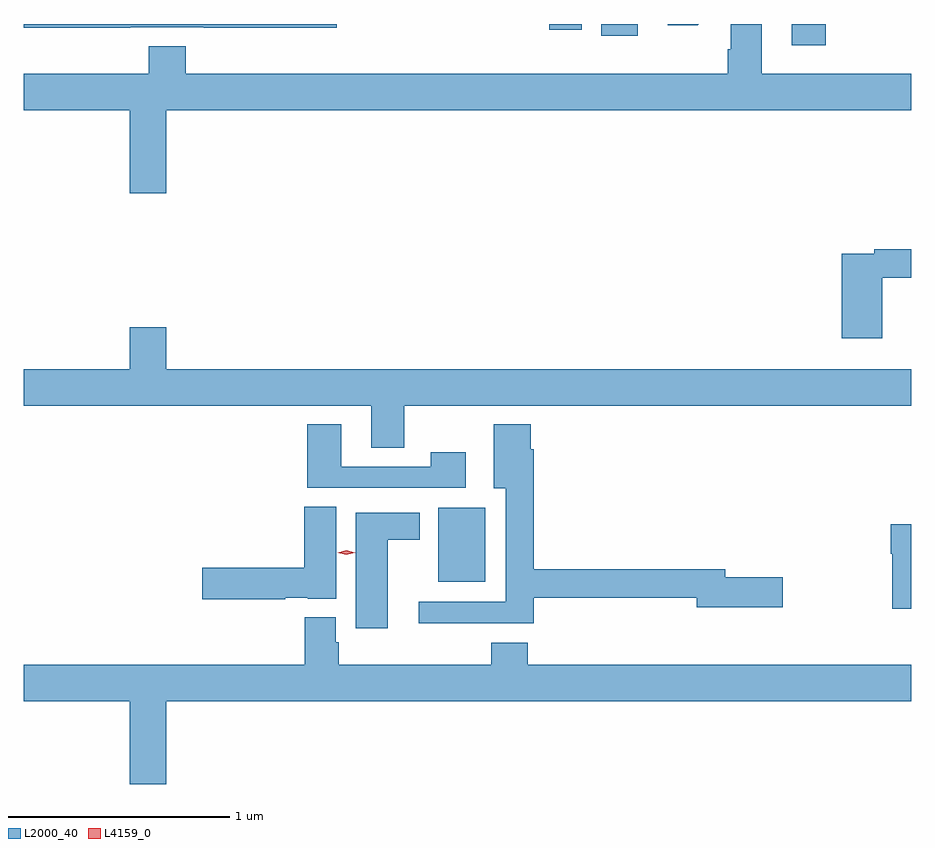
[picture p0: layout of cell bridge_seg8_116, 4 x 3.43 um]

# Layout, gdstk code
import gdstk
lib = gdstk.Library(unit=1e-6, precision=1e-09)
def R(c, l, rs):  # rectangles x0, y0, x1, y1
    for r in rs: c.add(gdstk.rectangle(r[:2], r[2:], *l))
def P(c, l, *ps):  # polygons
    for p in ps: c.add(gdstk.Polygon(p, *l))
L2000_40 = (2000, 40)
L4159_0 = (4159, 0)

bridge_seg8_116 = lib.new_cell('bridge_seg8_116')
R(bridge_seg8_116, L2000_40, [(849.716,1156.997,849.928,1157.332), (851.309,1159.416,851.462,1159.512), (850.451,1159.46,850.615,1159.512), (850.215,1159.485,850.363,1159.512)])
P(bridge_seg8_116, L2000_40, [(848.327,1159.497),(848.659,1159.497),(848.659,1159.496),(849.257,1159.496),(849.257,1159.512),(847.847,1159.512),(847.847,1159.496),(848.327,1159.496)],
  [(850.89,1159.512),(850.749,1159.512),(850.749,1159.506),(850.884,1159.506)],
  [(851.034,1159.512),(851.034,1159.398),(851.021,1159.398),(851.021,1159.288),(848.576,1159.288),(848.576,1159.412),(848.411,1159.412),(848.411,1159.288),(847.847,1159.288),(847.847,1159.124),(848.324,1159.124),(848.324,1158.75),(848.488,1158.75),(848.488,1159.124),(851.847,1159.124),(851.847,1159.288),(851.173,1159.288),(851.173,1159.512)],
  [(851.717,1158.369),(851.847,1158.369),(851.847,1158.497),(851.68,1158.497),(851.68,1158.477),(851.534,1158.477),(851.534,1158.096),(851.717,1158.096)],
  [(849.561,1157.792),(851.847,1157.792),(851.847,1157.956),(848.488,1157.956),(848.488,1158.145),(848.324,1158.145),(848.324,1157.956),(847.847,1157.956),(847.847,1157.792),(849.413,1157.792),(849.413,1157.602),(849.561,1157.602)],
  [(849.838,1157.581),(849.682,1157.581),(849.682,1157.517),(849.277,1157.517),(849.277,1157.707),(849.125,1157.707),(849.125,1157.421),(849.838,1157.421)],
  [(850.145,1156.926),(850.88,1156.926),(850.88,1156.883),(851.269,1156.883),(851.269,1157.018),(851.008,1157.018),(851.008,1157.054),(850.145,1157.054),(850.145,1157.594),(850.132,1157.594),(850.132,1157.707),(849.965,1157.707),(849.965,1157.42),(850.019,1157.42),(850.019,1156.908),(849.627,1156.908),(849.627,1156.811),(850.145,1156.811)],
  [(849.026,1156.925),(849.126,1156.925),(849.126,1156.922),(849.256,1156.922),(849.256,1157.336),(849.11,1157.336),(849.11,1157.06),(848.652,1157.06),(848.652,1156.918),(849.026,1156.918)],
  [(849.487,1157.186),(849.631,1157.186),(849.631,1157.308),(849.344,1157.308),(849.344,1156.788),(849.487,1156.788)],
  [(851.847,1157.256),(851.756,1157.256),(851.756,1157.123),(851.761,1157.123),(851.761,1156.875),(851.847,1156.875)],
  [(848.488,1156.46),(851.847,1156.46),(851.847,1156.624),(850.118,1156.624),(850.118,1156.723),(849.953,1156.723),(849.953,1156.624),(849.266,1156.624),(849.266,1156.725),(849.253,1156.725),(849.253,1156.837),(849.113,1156.837),(849.113,1156.624),(847.847,1156.624),(847.847,1156.46),(848.324,1156.46),(848.324,1156.086),(848.488,1156.086)])
P(bridge_seg8_116, L4159_0, [(849.301,1157.119),(849.261,1157.129),(849.261,1157.129),(849.261,1157.129),(849.301,1157.139),(849.341,1157.129),(849.341,1157.129),(849.341,1157.129)])

lib.write_gds('bridge_seg8_116.gds')
